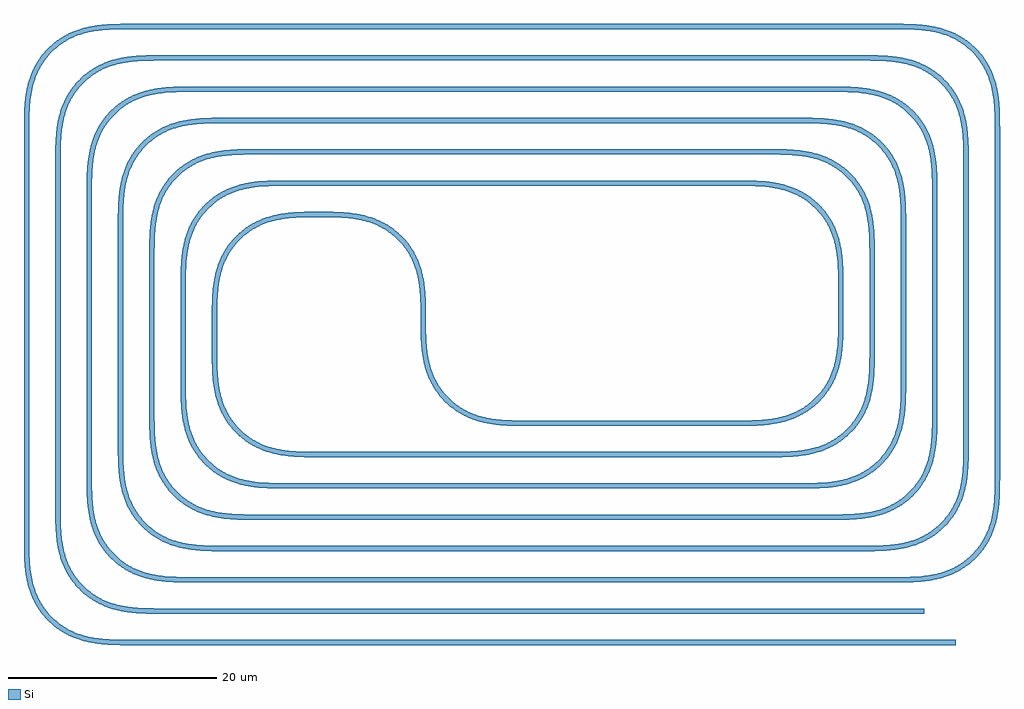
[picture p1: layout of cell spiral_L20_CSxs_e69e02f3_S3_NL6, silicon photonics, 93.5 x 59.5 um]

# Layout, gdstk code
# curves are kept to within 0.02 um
from math import pi, radians
import gdstk
lib = gdstk.Library(unit=1e-6, precision=1e-09)
def R(c, l, rs):  # rectangles x0, y0, x1, y1
    for r in rs: c.add(gdstk.rectangle(r[:2], r[2:], *l))
def P(c, l, *ps):  # polygons
    for p in ps: c.add(gdstk.Polygon(p, *l))
Si = (1, 0)

bend_euler_gdsfactorypc_ = lib.new_cell('bend_euler_gdsfactorypc_05052b0b')
P(bend_euler_gdsfactorypc_, Si, [(0,-0.25),(0,0.25),(1.655,0.269),(2.881,0.353),(3.952,0.52),(4.99,0.806),(5.731,1.113),(6.431,1.505),(7.079,1.976),(7.575,2.425),(8.024,2.921),(8.495,3.569),(8.887,4.269),(9.194,5.01),(9.48,6.048),(9.647,7.119),(9.731,8.345),(9.75,10),(10.25,10),(10.235,8.468),(10.158,7.205),(10.023,6.224),(9.797,5.254),(9.457,4.312),(9.066,3.545),(8.5,2.715),(7.928,2.072),(7.285,1.5),(6.455,0.934),(5.688,0.543),(4.746,0.203),(3.776,-0.023),(2.795,-0.158),(1.532,-0.235)])

straight_gdsfactorypcom_ = lib.new_cell('straight_gdsfactorypcom_810dd3e0')
R(straight_gdsfactorypcom_, Si, [(0,-0.25,3,0.25)])

c_straight_gdsfactorypcom_ = lib.new_cell('straight_gdsfactorypcom_e7a7edb3')
R(c_straight_gdsfactorypcom_, Si, [(0,-0.25,43,0.25)])

c_straight_gdsfactorypcom__ = lib.new_cell('straight_gdsfactorypcom_7f5722a8')
R(c_straight_gdsfactorypcom__, Si, [(0,-0.25,20,0.25)])

c_straight_gdsfactorypcom___ = lib.new_cell('straight_gdsfactorypcom_f2d06f42')
R(c_straight_gdsfactorypcom___, Si, [(0,-0.25,9,0.25)])

c_straight_gdsfactorypcom____ = lib.new_cell('straight_gdsfactorypcom_7742a60c')
R(c_straight_gdsfactorypcom____, Si, [(0,-0.25,49,0.25)])

c_straight_gdsfactorypcom_____ = lib.new_cell('straight_gdsfactorypcom_675b48e5')
R(c_straight_gdsfactorypcom_____, Si, [(0,-0.25,55,0.25)])

c_straight_gdsfactorypcom______ = lib.new_cell('straight_gdsfactorypcom_12cde3fc')
R(c_straight_gdsfactorypcom______, Si, [(0,-0.25,15,0.25)])

c_straight_gdsfactorypcom_______ = lib.new_cell('straight_gdsfactorypcom_ed1046bc')
R(c_straight_gdsfactorypcom_______, Si, [(0,-0.25,21,0.25)])

c_straight_gdsfactorypcom________ = lib.new_cell('straight_gdsfactorypcom_468df3bd')
R(c_straight_gdsfactorypcom________, Si, [(0,-0.25,61,0.25)])

c_straight_gdsfactorypcom_________ = lib.new_cell('straight_gdsfactorypcom_cbe15374')
R(c_straight_gdsfactorypcom_________, Si, [(0,-0.25,27,0.25)])

c_straight_gdsfactorypcom__________ = lib.new_cell('straight_gdsfactorypcom_10ad8e4b')
R(c_straight_gdsfactorypcom__________, Si, [(0,-0.25,67,0.25)])

c_straight_gdsfactorypcom___________ = lib.new_cell('straight_gdsfactorypcom_5092afc9')
R(c_straight_gdsfactorypcom___________, Si, [(0,-0.25,33,0.25)])

c_straight_gdsfactorypcom____________ = lib.new_cell('straight_gdsfactorypcom_41974ffe')
R(c_straight_gdsfactorypcom____________, Si, [(0,-0.25,73,0.25)])

c_straight_gdsfactorypcom_____________ = lib.new_cell('straight_gdsfactorypcom_b7f60710')
R(c_straight_gdsfactorypcom_____________, Si, [(0,-0.25,39,0.25)])

c_straight_gdsfactorypcom______________ = lib.new_cell('straight_gdsfactorypcom_4ed40b5f')
R(c_straight_gdsfactorypcom______________, Si, [(0,-0.25,79,0.25)])

spiral_l20_csxs_e69e02f3 = lib.new_cell('spiral_L20_CSxs_e69e02f3_S3_NL6')
spiral_l20_csxs_e69e02f3.add(gdstk.Reference(bend_euler_gdsfactorypc_, (0,0), rotation=pi, x_reflection=True))
spiral_l20_csxs_e69e02f3.add(gdstk.Reference(bend_euler_gdsfactorypc_, (-10,10), rotation=pi/2))
spiral_l20_csxs_e69e02f3.add(gdstk.Reference(bend_euler_gdsfactorypc_, (30,13), rotation=pi/2))
spiral_l20_csxs_e69e02f3.add(gdstk.Reference(bend_euler_gdsfactorypc_, (33,16), rotation=pi/2))
spiral_l20_csxs_e69e02f3.add(gdstk.Reference(bend_euler_gdsfactorypc_, (36,19), rotation=pi/2))
spiral_l20_csxs_e69e02f3.add(gdstk.Reference(bend_euler_gdsfactorypc_, (39,22), rotation=pi/2))
spiral_l20_csxs_e69e02f3.add(gdstk.Reference(bend_euler_gdsfactorypc_, (42,25), rotation=pi/2))
spiral_l20_csxs_e69e02f3.add(gdstk.Reference(bend_euler_gdsfactorypc_, (45,28), rotation=pi/2))
spiral_l20_csxs_e69e02f3.add(gdstk.Reference(bend_euler_gdsfactorypc_, (-20,20), rotation=pi))
spiral_l20_csxs_e69e02f3.add(gdstk.Reference(bend_euler_gdsfactorypc_, (-23,23), rotation=pi))
spiral_l20_csxs_e69e02f3.add(gdstk.Reference(bend_euler_gdsfactorypc_, (-26,26), rotation=pi))
spiral_l20_csxs_e69e02f3.add(gdstk.Reference(bend_euler_gdsfactorypc_, (-29,29), rotation=pi))
spiral_l20_csxs_e69e02f3.add(gdstk.Reference(bend_euler_gdsfactorypc_, (-32,32), rotation=pi))
spiral_l20_csxs_e69e02f3.add(gdstk.Reference(bend_euler_gdsfactorypc_, (-35,35), rotation=pi))
spiral_l20_csxs_e69e02f3.add(gdstk.Reference(bend_euler_gdsfactorypc_, (-38,38), rotation=pi))
spiral_l20_csxs_e69e02f3.add(gdstk.Reference(bend_euler_gdsfactorypc_, (-48,-11), rotation=3*pi/2))
spiral_l20_csxs_e69e02f3.add(gdstk.Reference(bend_euler_gdsfactorypc_, (-45,-8), rotation=3*pi/2))
spiral_l20_csxs_e69e02f3.add(gdstk.Reference(bend_euler_gdsfactorypc_, (-42,-5), rotation=3*pi/2))
spiral_l20_csxs_e69e02f3.add(gdstk.Reference(bend_euler_gdsfactorypc_, (-39,-2), rotation=3*pi/2))
spiral_l20_csxs_e69e02f3.add(gdstk.Reference(bend_euler_gdsfactorypc_, (-36,1), rotation=3*pi/2))
spiral_l20_csxs_e69e02f3.add(gdstk.Reference(bend_euler_gdsfactorypc_, (-33,4), rotation=3*pi/2))
spiral_l20_csxs_e69e02f3.add(gdstk.Reference(bend_euler_gdsfactorypc_, (-30,7), rotation=3*pi/2))
spiral_l20_csxs_e69e02f3.add(gdstk.Reference(straight_gdsfactorypcom_, (-30,10), rotation=3*pi/2))
spiral_l20_csxs_e69e02f3.add(gdstk.Reference(bend_euler_gdsfactorypc_, (35,-15)))
spiral_l20_csxs_e69e02f3.add(gdstk.Reference(bend_euler_gdsfactorypc_, (32,-12)))
spiral_l20_csxs_e69e02f3.add(gdstk.Reference(bend_euler_gdsfactorypc_, (29,-9)))
spiral_l20_csxs_e69e02f3.add(gdstk.Reference(bend_euler_gdsfactorypc_, (26,-6)))
spiral_l20_csxs_e69e02f3.add(gdstk.Reference(bend_euler_gdsfactorypc_, (23,-3)))
spiral_l20_csxs_e69e02f3.add(gdstk.Reference(bend_euler_gdsfactorypc_, (20,0)))
spiral_l20_csxs_e69e02f3.add(gdstk.Reference(c_straight_gdsfactorypcom_, (-20,-3)))
spiral_l20_csxs_e69e02f3.add(gdstk.Reference(c_straight_gdsfactorypcom__, (0,0)))
spiral_l20_csxs_e69e02f3.add(gdstk.Reference(straight_gdsfactorypcom_, (30,10), rotation=pi/2))
spiral_l20_csxs_e69e02f3.add(gdstk.Reference(c_straight_gdsfactorypcom___, (33,7), rotation=pi/2))
spiral_l20_csxs_e69e02f3.add(gdstk.Reference(c_straight_gdsfactorypcom_, (20,23), rotation=pi))
spiral_l20_csxs_e69e02f3.add(gdstk.Reference(c_straight_gdsfactorypcom____, (23,26), rotation=pi))
spiral_l20_csxs_e69e02f3.add(gdstk.Reference(c_straight_gdsfactorypcom___, (-33,13), rotation=3*pi/2))
spiral_l20_csxs_e69e02f3.add(gdstk.Reference(c_straight_gdsfactorypcom_____, (-26,-9)))
spiral_l20_csxs_e69e02f3.add(gdstk.Reference(c_straight_gdsfactorypcom______, (-36,16), rotation=3*pi/2))
spiral_l20_csxs_e69e02f3.add(gdstk.Reference(c_straight_gdsfactorypcom____, (-23,-6)))
spiral_l20_csxs_e69e02f3.add(gdstk.Reference(c_straight_gdsfactorypcom_____, (26,29), rotation=pi))
spiral_l20_csxs_e69e02f3.add(gdstk.Reference(c_straight_gdsfactorypcom______, (36,4), rotation=pi/2))
spiral_l20_csxs_e69e02f3.add(gdstk.Reference(c_straight_gdsfactorypcom_______, (39,1), rotation=pi/2))
spiral_l20_csxs_e69e02f3.add(gdstk.Reference(c_straight_gdsfactorypcom________, (29,32), rotation=pi))
spiral_l20_csxs_e69e02f3.add(gdstk.Reference(c_straight_gdsfactorypcom_______, (-39,19), rotation=3*pi/2))
spiral_l20_csxs_e69e02f3.add(gdstk.Reference(c_straight_gdsfactorypcom_________, (-42,22), rotation=3*pi/2))
spiral_l20_csxs_e69e02f3.add(gdstk.Reference(c_straight_gdsfactorypcom________, (-29,-12)))
spiral_l20_csxs_e69e02f3.add(gdstk.Reference(c_straight_gdsfactorypcom__________, (-32,-15)))
spiral_l20_csxs_e69e02f3.add(gdstk.Reference(c_straight_gdsfactorypcom_________, (42,-2), rotation=pi/2))
spiral_l20_csxs_e69e02f3.add(gdstk.Reference(c_straight_gdsfactorypcom___________, (45,-5), rotation=pi/2))
spiral_l20_csxs_e69e02f3.add(gdstk.Reference(c_straight_gdsfactorypcom__________, (32,35), rotation=pi))
spiral_l20_csxs_e69e02f3.add(gdstk.Reference(c_straight_gdsfactorypcom____________, (35,38), rotation=pi))
spiral_l20_csxs_e69e02f3.add(gdstk.Reference(c_straight_gdsfactorypcom___________, (-45,25), rotation=3*pi/2))
spiral_l20_csxs_e69e02f3.add(gdstk.Reference(c_straight_gdsfactorypcom_____________, (-48,28), rotation=3*pi/2))
spiral_l20_csxs_e69e02f3.add(gdstk.Reference(c_straight_gdsfactorypcom____________, (-35,-18)))
spiral_l20_csxs_e69e02f3.add(gdstk.Reference(c_straight_gdsfactorypcom______________, (-38,-21)))

lib.write_gds('spiral_L20_CSxs_e69e02f3_S3_NL6.gds')
